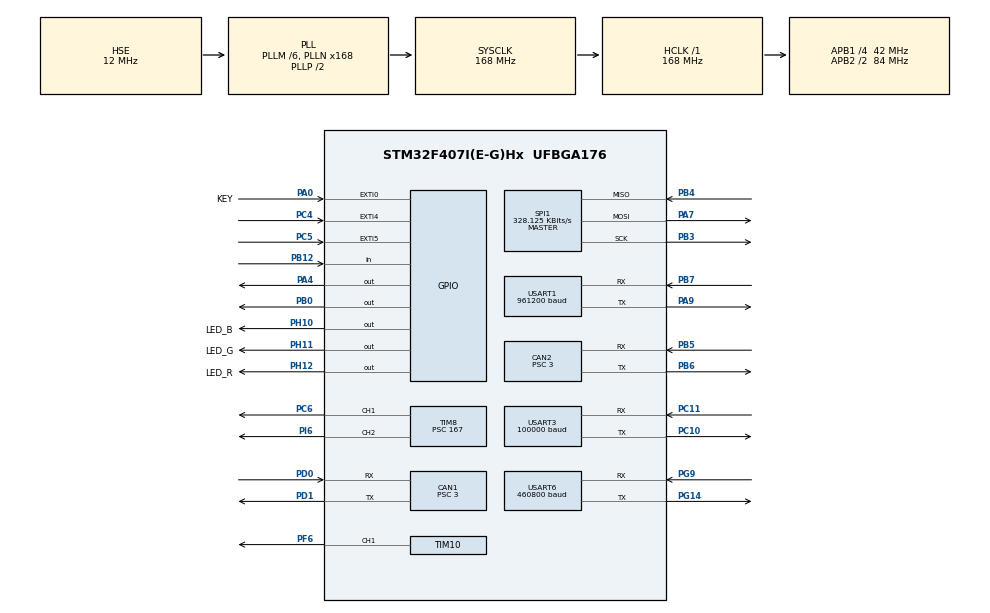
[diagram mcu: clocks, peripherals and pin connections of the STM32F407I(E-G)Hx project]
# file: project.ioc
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CAN1.BS1=CAN_BS1_10TQ
CAN1.BS2=CAN_BS2_3TQ
CAN1.CalculateBaudRate=1000000
CAN1.CalculateTimeBit=1000
CAN1.CalculateTimeQuantum=71.42857142857143
CAN1.Prescaler=3
CAN2.BS1=CAN_BS1_10TQ
CAN2.BS2=CAN_BS2_3TQ
CAN2.CalculateBaudRate=1000000
CAN2.CalculateTimeBit=1000
CAN2.CalculateTimeQuantum=71.42857142857143
CAN2.Prescaler=3
Dma.Request0=USART1_RX
Dma.Request1=USART1_TX
Dma.Request2=USART3_RX
Dma.Request3=USART3_TX
Dma.Request4=USART6_RX
Dma.Request5=USART6_TX
Dma.Request6=SPI1_RX
Dma.Request7=SPI1_TX
Dma.SPI1_RX.6.Direction=DMA_PERIPH_TO_MEMORY
Dma.SPI1_RX.6.FIFOMode=DMA_FIFOMODE_DISABLE
Dma.SPI1_RX.6.Instance=DMA2_Stream0
Dma.SPI1_RX.6.MemDataAlignment=DMA_MDATAALIGN_BYTE
Dma.SPI1_RX.6.MemInc=DMA_MINC_ENABLE
Dma.SPI1_RX.6.Mode=DMA_NORMAL
Dma.SPI1_RX.6.PeriphDataAlignment=DMA_PDATAALIGN_BYTE
Dma.SPI1_RX.6.PeriphInc=DMA_PINC_DISABLE
Dma.SPI1_RX.6.Priority=DMA_PRIORITY_VERY_HIGH
Dma.SPI1_TX.7.Direction=DMA_MEMORY_TO_PERIPH
Dma.SPI1_TX.7.FIFOMode=DMA_FIFOMODE_DISABLE
Dma.SPI1_TX.7.Instance=DMA2_Stream3
Dma.SPI1_TX.7.MemDataAlignment=DMA_MDATAALIGN_BYTE
Dma.SPI1_TX.7.MemInc=DMA_MINC_ENABLE
Dma.SPI1_TX.7.Mode=DMA_NORMAL
Dma.SPI1_TX.7.PeriphDataAlignment=DMA_PDATAALIGN_BYTE
Dma.SPI1_TX.7.PeriphInc=DMA_PINC_DISABLE
Dma.SPI1_TX.7.Priority=DMA_PRIORITY_HIGH
Dma.USART1_RX.0.Direction=DMA_PERIPH_TO_MEMORY
Dma.USART1_RX.0.FIFOMode=DMA_FIFOMODE_DISABLE
Dma.USART1_RX.0.Instance=DMA2_Stream2
Dma.USART1_RX.0.MemDataAlignment=DMA_MDATAALIGN_BYTE
Dma.USART1_RX.0.MemInc=DMA_MINC_ENABLE
Dma.USART1_RX.0.Mode=DMA_NORMAL
Dma.USART1_RX.0.PeriphDataAlignment=DMA_PDATAALIGN_BYTE
Dma.USART1_RX.0.PeriphInc=DMA_PINC_DISABLE
Dma.USART1_RX.0.Priority=DMA_PRIORITY_VERY_HIGH
Dma.USART1_TX.1.Direction=DMA_MEMORY_TO_PERIPH
Dma.USART1_TX.1.FIFOMode=DMA_FIFOMODE_DISABLE
Dma.USART1_TX.1.Instance=DMA2_Stream7
Dma.USART1_TX.1.MemDataAlignment=DMA_MDATAALIGN_BYTE
Dma.USART1_TX.1.MemInc=DMA_MINC_ENABLE
Dma.USART1_TX.1.Mode=DMA_NORMAL
Dma.USART1_TX.1.PeriphDataAlignment=DMA_PDATAALIGN_BYTE
Dma.USART1_TX.1.PeriphInc=DMA_PINC_DISABLE
Dma.USART1_TX.1.Priority=DMA_PRIORITY_VERY_HIGH
Dma.USART3_RX.2.Direction=DMA_PERIPH_TO_MEMORY
Dma.USART3_RX.2.FIFOMode=DMA_FIFOMODE_DISABLE
Dma.USART3_RX.2.Instance=DMA1_Stream1
Dma.USART3_RX.2.MemDataAlignment=DMA_MDATAALIGN_BYTE
Dma.USART3_RX.2.MemInc=DMA_MINC_ENABLE
Dma.USART3_RX.2.Mode=DMA_NORMAL
Dma.USART3_RX.2.PeriphDataAlignment=DMA_PDATAALIGN_BYTE
Dma.USART3_RX.2.PeriphInc=DMA_PINC_DISABLE
Dma.USART3_RX.2.Priority=DMA_PRIORITY_VERY_HIGH
Dma.USART3_TX.3.Direction=DMA_MEMORY_TO_PERIPH
Dma.USART3_TX.3.FIFOMode=DMA_FIFOMODE_DISABLE
Dma.USART3_TX.3.Instance=DMA1_Stream3
Dma.USART3_TX.3.MemDataAlignment=DMA_MDATAALIGN_BYTE
Dma.USART3_TX.3.MemInc=DMA_MINC_ENABLE
Dma.USART3_TX.3.Mode=DMA_NORMAL
Dma.USART3_TX.3.PeriphDataAlignment=DMA_PDATAALIGN_BYTE
Dma.USART3_TX.3.PeriphInc=DMA_PINC_DISABLE
Dma.USART3_TX.3.Priority=DMA_PRIORITY_VERY_HIGH
Dma.USART6_RX.4.Direction=DMA_PERIPH_TO_MEMORY
Dma.USART6_RX.4.FIFOMode=DMA_FIFOMODE_DISABLE
Dma.USART6_RX.4.Instance=DMA2_Stream1
Dma.USART6_RX.4.MemDataAlignment=DMA_MDATAALIGN_BYTE
Dma.USART6_RX.4.MemInc=DMA_MINC_ENABLE
Dma.USART6_RX.4.Mode=DMA_NORMAL
Dma.USART6_RX.4.PeriphDataAlignment=DMA_PDATAALIGN_BYTE
Dma.USART6_RX.4.PeriphInc=DMA_PINC_DISABLE
Dma.USART6_RX.4.Priority=DMA_PRIORITY_VERY_HIGH
Dma.USART6_TX.5.Direction=DMA_MEMORY_TO_PERIPH
Dma.USART6_TX.5.FIFOMode=DMA_FIFOMODE_DISABLE
Dma.USART6_TX.5.Instance=DMA2_Stream6
Dma.USART6_TX.5.MemDataAlignment=DMA_MDATAALIGN_BYTE
Dma.USART6_TX.5.MemInc=DMA_MINC_ENABLE
Dma.USART6_TX.5.Mode=DMA_NORMAL
Dma.USART6_TX.5.PeriphDataAlignment=DMA_PDATAALIGN_BYTE
Dma.USART6_TX.5.PeriphInc=DMA_PINC_DISABLE
Dma.USART6_TX.5.Priority=DMA_PRIORITY_VERY_HIGH
Mcu.Family=STM32F4
Mcu.Name=STM32F407I(E-G)Hx
Mcu.Package=UFBGA176
NVIC.CAN1_RX0_IRQn=true\:0\:0\:false\:false\:true\:true\:true\:true
NVIC.CAN1_TX_IRQn=true\:0\:0\:false\:false\:true\:true\:true\:true
NVIC.CAN2_RX0_IRQn=true\:0\:0\:false\:false\:true\:true\:true\:true
NVIC.CAN2_TX_IRQn=true\:0\:0\:false\:false\:true\:true\:true\:true
NVIC.DMA1_Stream1_IRQn=true\:0\:0\:false\:false\:true\:false\:true\:true
NVIC.DMA1_Stream3_IRQn=true\:0\:0\:false\:false\:true\:false\:true\:true
NVIC.DMA2_Stream0_IRQn=true\:0\:0\:false\:false\:true\:false\:true\:true
NVIC.DMA2_Stream1_IRQn=true\:0\:0\:false\:false\:true\:false\:true\:true
NVIC.DMA2_Stream2_IRQn=true\:0\:0\:false\:false\:true\:false\:true\:true
NVIC.DMA2_Stream3_IRQn=true\:0\:0\:false\:false\:true\:false\:true\:true
NVIC.DMA2_Stream6_IRQn=true\:0\:0\:false\:false\:true\:false\:true\:true
NVIC.DMA2_Stream7_IRQn=true\:0\:0\:false\:false\:true\:false\:true\:true
NVIC.EXTI0_IRQn=true\:0\:0\:false\:false\:true\:true\:true\:true
NVIC.PriorityGroup=NVIC_PRIORITYGROUP_4
NVIC.TIM1_UP_TIM10_IRQn=true\:0\:0\:false\:false\:true\:true\:true\:true
NVIC.USART1_IRQn=true\:0\:0\:false\:false\:true\:true\:true\:true
NVIC.USART3_IRQn=true\:0\:0\:false\:false\:true\:true\:true\:true
NVIC.USART6_IRQn=true\:0\:0\:false\:false\:true\:true\:true\:true
PA0-WKUP.GPIO_Label=KEY
PA0-WKUP.GPIO_ModeDefaultEXTI=GPIO_MODE_IT_RISING
PA0-WKUP.GPIO_PuPd=GPIO_PULLUP
PA0-WKUP.Signal=GPXTI0
PA13.Mode=Serial_Wire
PA13.Signal=SYS_JTMS-SWDIO
PA14.Mode=Serial_Wire
PA14.Signal=SYS_JTCK-SWCLK
PA4.GPIO_PuPd=GPIO_PULLUP
PA4.GPIO_Speed=GPIO_SPEED_FREQ_HIGH
PA4.PinState=GPIO_PIN_SET
PA4.Signal=GPIO_Output
PA7.Mode=Full_Duplex_Master
PA7.Signal=SPI1_MOSI
PA9.Mode=Asynchronous
PA9.Signal=USART1_TX
PB0.GPIO_PuPd=GPIO_PULLUP
PB0.GPIO_Speed=GPIO_SPEED_FREQ_HIGH
PB0.PinState=GPIO_PIN_SET
PB0.Signal=GPIO_Output
PB12.GPIO_PuPd=GPIO_PULLUP
PB12.Signal=GPIO_Input
PB3.Mode=Full_Duplex_Master
PB3.Signal=SPI1_SCK
PB4.Mode=Full_Duplex_Master
PB4.Signal=SPI1_MISO
PB5.Mode=CAN_Activate
PB5.Signal=CAN2_RX
PB6.Mode=CAN_Activate
PB6.Signal=CAN2_TX
PB7.Mode=Asynchronous
PB7.Signal=USART1_RX
PC10.Mode=Asynchronous
PC10.Signal=USART3_TX
PC11.Mode=Asynchronous
PC11.Signal=USART3_RX
PC4.GPIO_ModeDefaultEXTI=GPIO_MODE_IT_FALLING
PC4.GPIO_PuPd=GPIO_PULLUP
PC4.Signal=GPXTI4
PC5.GPIO_ModeDefaultEXTI=GPIO_MODE_IT_FALLING
PC5.GPIO_PuPd=GPIO_PULLUP
PC5.Signal=GPXTI5
PC6.Signal=S_TIM8_CH1
PD0.Mode=CAN_Activate
PD0.Signal=CAN1_RX
PD1.Mode=CAN_Activate
PD1.Signal=CAN1_TX
PE11.Signal=S_TIM1_CH2
PE13.Signal=S_TIM1_CH3
PE14.Signal=S_TIM1_CH4
PE9.Signal=S_TIM1_CH1
PF6.GPIO_PuPd=GPIO_PULLUP
PF6.GPIO_Speed=GPIO_SPEED_FREQ_HIGH
PF6.Signal=S_TIM10_CH1
PG14.Mode=Asynchronous
PG14.Signal=USART6_TX
PG9.Mode=Asynchronous
PG9.Signal=USART6_RX
PH0-OSC_IN.Mode=HSE-External-Oscillator
PH0-OSC_IN.Signal=RCC_OSC_IN
PH1-OSC_OUT.Mode=HSE-External-Oscillator
PH1-OSC_OUT.Signal=RCC_OSC_OUT
PH10.GPIO_Label=LED_B
PH10.GPIO_PuPd=GPIO_PULLDOWN
PH10.Signal=GPIO_Output
PH11.GPIO_Label=LED_G
PH11.GPIO_PuPd=GPIO_PULLDOWN
PH11.Signal=GPIO_Output
PH12.GPIO_Label=LED_R
PH12.GPIO_PuPd=GPIO_PULLDOWN
PH12.Signal=GPIO_Output
PI6.Signal=S_TIM8_CH2
PI7.Signal=S_TIM8_CH3
ProjectManager.HeapSize=0x200
ProjectManager.StackSize=0x400
ProjectManager.TargetToolchain=CMake
RCC.48MHZClocksFreq_Value=84000000
RCC.AHBFreq_Value=168000000
RCC.APB1CLKDivider=RCC_HCLK_DIV4
RCC.APB1Freq_Value=42000000
RCC.APB1TimFreq_Value=84000000
RCC.APB2CLKDivider=RCC_HCLK_DIV2
RCC.APB2Freq_Value=84000000
RCC.APB2TimFreq_Value=168000000
RCC.CortexFreq_Value=168000000
RCC.HCLKFreq_Value=168000000
RCC.HSE_VALUE=12000000
RCC.HSI_VALUE=16000000
RCC.LSE_VALUE=32768
RCC.PLLM=6
RCC.PLLN=168
RCC.PLLSourceVirtual=RCC_PLLSOURCE_HSE
RCC.SYSCLKFreq_VALUE=168000000
RCC.SYSCLKSource=RCC_SYSCLKSOURCE_PLLCLK
RCC.VCOOutputFreq_Value=336000000
SH.S_TIM10_CH1.0=TIM10_CH1,PWM Generation1 CH1
SH.S_TIM1_CH1.0=TIM1_CH1
SH.S_TIM1_CH2.0=TIM1_CH2
SH.S_TIM1_CH3.0=TIM1_CH3
SH.S_TIM1_CH4.0=TIM1_CH4
SH.S_TIM8_CH1.0=TIM8_CH1,PWM Generation1 CH1
SH.S_TIM8_CH2.0=TIM8_CH2,PWM Generation2 CH2
SH.S_TIM8_CH3.0=TIM8_CH3
SPI1.BaudRatePrescaler=SPI_BAUDRATEPRESCALER_256
SPI1.CLKPhase=SPI_PHASE_2EDGE
SPI1.CLKPolarity=SPI_POLARITY_HIGH
SPI1.CalculateBaudRate=328.125 KBits/s
SPI1.Direction=SPI_DIRECTION_2LINES
SPI1.Mode=SPI_MODE_MASTER
SPI1.VirtualType=VM_MASTER
TIM1.Period=9
TIM1.Prescaler=16799
TIM10.Channel=TIM_CHANNEL_1
TIM10.Period=4999
TIM8.Channel-PWM\ Generation1\ CH1=TIM_CHANNEL_1
TIM8.Channel-PWM\ Generation2\ CH2=TIM_CHANNEL_2
TIM8.Period=1999
TIM8.Prescaler=167
TIM8.Pulse-PWM\ Generation1\ CH1=1000
TIM8.Pulse-PWM\ Generation2\ CH2=1000
USART1.BaudRate=961200
USART1.VirtualMode=VM_ASYNC
USART3.BaudRate=100000
USART3.Parity=PARITY_EVEN
USART3.StopBits=STOPBITS_2
USART3.VirtualMode=VM_ASYNC
USART3.WordLength=WORDLENGTH_9B
USART6.BaudRate=460800
USART6.Parity=PARITY_NONE
USART6.StopBits=STOPBITS_1
USART6.VirtualMode=VM_ASYNC
USART6.WordLength=WORDLENGTH_8B
VP_TIM10_VS_ClockSourceINT.Mode=Enable_Timer
VP_TIM1_VS_ClockSourceINT.Mode=Internal
VP_TIM8_VS_ClockSourceINT.Mode=Internal
board=custom

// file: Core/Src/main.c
/* USER CODE BEGIN Header */
/**
  ******************************************************************************
  * @file           : main.c
  * @brief          : Main program body
  ******************************************************************************
  * @attention
  *
  * Copyright (c) 2026 STMicroelectronics.
  * All rights reserved.
  *
  * This software is licensed under terms that can be found in the LICENSE file
  * in the root directory of this software component.
  * If no LICENSE file comes with this software, it is provided AS-IS.
  *
  ******************************************************************************
  */
/* USER CODE END Header */
#include "main.h"
#include "can.h"
#include "dma.h"
#include "spi.h"
#include "tim.h"
#include "usart.h"
#include "gpio.h"

/* USER CODE BEGIN Includes */
#include "bmi088.h"
#include "bsp_uart.h"
#include "crc.h"
#include "imu_attitude.h"
#include "uart_ports.h"
#include "app.h"
#include <stdint.h>
#include <string.h>
/* USER CODE END Includes */

/* USER CODE BEGIN PD */

#define IMU_UART_FRAME_HEADER     (0x5A)
#define IMU_UART_FRAME_SIZE       ((uint16_t)(1U + 4U * sizeof(float) + 2U))
/* USER CODE END PD */

/* USER CODE BEGIN PV */
IMU_Attitude_t imu_attitude;
uint8_t imu_frame[IMU_UART_FRAME_SIZE];
float imu_update_dt_s;

/* USER CODE END PV */

void SystemClock_Config(void);

/* USER CODE BEGIN 0 */

static void IMU_BuildFrame(uint8_t *frame, const IMU_Attitude_t *attitude)
{
  frame[0] = IMU_UART_FRAME_HEADER;
  memcpy(&frame[1], &attitude->q0, sizeof(float));
  memcpy(&frame[1 + sizeof(float)], &attitude->q1, sizeof(float));
  memcpy(&frame[1 + 2 * sizeof(float)], &attitude->q2, sizeof(float));
  memcpy(&frame[1 + 3 * sizeof(float)], &attitude->q3, sizeof(float));
  CRC16_Append(frame, IMU_UART_FRAME_SIZE);
}

/* USER CODE END 0 */

int main(void)
{

  /* MCU Configuration--------------------------------------------------------*/

  /* Reset of all peripherals, Initializes the Flash interface and the Systick. */
  HAL_Init();

  /* Configure the system clock */
  SystemClock_Config();

  /* Initialize all configured peripherals */
  MX_GPIO_Init();
  MX_DMA_Init();
  MX_CAN1_Init();
  MX_CAN2_Init();
  MX_TIM1_Init();
  MX_USART1_UART_Init();
  MX_USART3_UART_Init();
  MX_USART6_UART_Init();
  MX_SPI1_Init();
  MX_TIM10_Init();
  MX_TIM8_Init();
  /* USER CODE BEGIN 2 */
  if (!BMI088_Init())
  {
    Error_Handler();
  }
  UART_Ports_Init();
  IMU_Attitude_Init(&imu_attitude);
  imu_update_dt_s = (float)((htim1.Init.Prescaler + 1U) * (htim1.Init.Period + 1U)) / (float)SystemCoreClock;
  App_Init();
  HAL_TIM_Base_Start_IT(&htim1);
  /* USER CODE END 2 */

  /* Infinite loop */
  while (1)
  {

  }
}

void SystemClock_Config(void)
{
  RCC_OscInitTypeDef RCC_OscInitStruct = {0};
  RCC_ClkInitTypeDef RCC_ClkInitStruct = {0};

  /** Configure the main internal regulator output voltage
  */
  __HAL_RCC_PWR_CLK_ENABLE();
  __HAL_PWR_VOLTAGESCALING_CONFIG(PWR_REGULATOR_VOLTAGE_SCALE1);

  /** Initializes the RCC Oscillators according to the specified parameters
  * in the RCC_OscInitTypeDef structure.
  */
  RCC_OscInitStruct.OscillatorType = RCC_OSCILLATORTYPE_HSE;
  RCC_OscInitStruct.HSEState = RCC_HSE_ON;
  RCC_OscInitStruct.PLL.PLLState = RCC_PLL_ON;
  RCC_OscInitStruct.PLL.PLLSource = RCC_PLLSOURCE_HSE;
  RCC_OscInitStruct.PLL.PLLM = 6;
  RCC_OscInitStruct.PLL.PLLN = 168;
  RCC_OscInitStruct.PLL.PLLP = RCC_PLLP_DIV2;
  RCC_OscInitStruct.PLL.PLLQ = 4;
  if (HAL_RCC_OscConfig(&RCC_OscInitStruct) != HAL_OK)
  {
    Error_Handler();
  }

  /** Initializes the CPU, AHB and APB buses clocks
  */
  RCC_ClkInitStruct.ClockType = RCC_CLOCKTYPE_HCLK|RCC_CLOCKTYPE_SYSCLK
                              |RCC_CLOCKTYPE_PCLK1|RCC_CLOCKTYPE_PCLK2;
  RCC_ClkInitStruct.SYSCLKSource = RCC_SYSCLKSOURCE_PLLCLK;
  RCC_ClkInitStruct.AHBCLKDivider = RCC_SYSCLK_DIV1;
  RCC_ClkInitStruct.APB1CLKDivider = RCC_HCLK_DIV4;
  RCC_ClkInitStruct.APB2CLKDivider = RCC_HCLK_DIV2;

  if (HAL_RCC_ClockConfig(&RCC_ClkInitStruct, FLASH_LATENCY_5) != HAL_OK)
  {
    Error_Handler();
  }
}

/* USER CODE BEGIN 4 */
void HAL_TIM_PeriodElapsedCallback(TIM_HandleTypeDef *htim)
{
  if (htim != &htim1)
    return;

  if (IMU_Attitude_Update(&imu_attitude, imu_update_dt_s))
  {
      IMU_BuildFrame(imu_frame, &imu_attitude);
      BSP_UART_TxData(&huart6, imu_frame, IMU_UART_FRAME_SIZE);
  }

  App_ControlTask1ms();
}
/* USER CODE END 4 */

void Error_Handler(void)
{
  __disable_irq();
  while (1)
  {
  }
}
